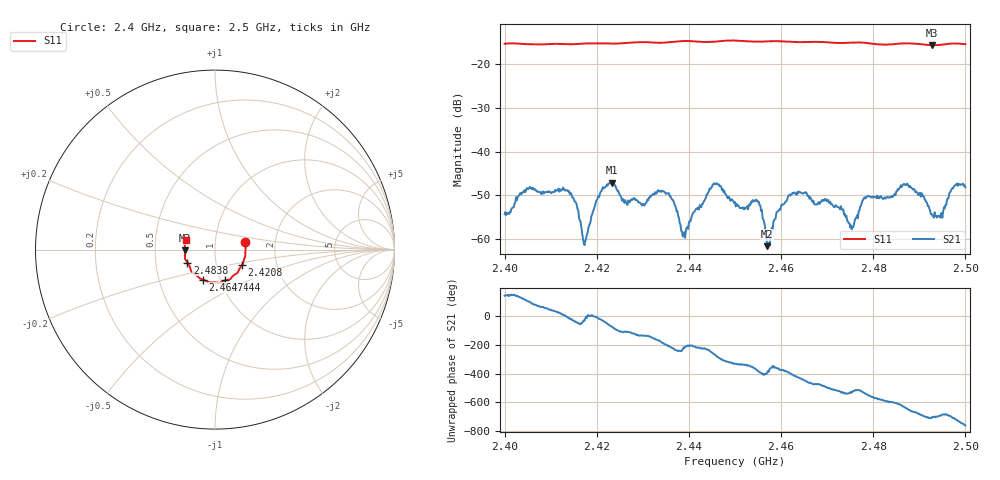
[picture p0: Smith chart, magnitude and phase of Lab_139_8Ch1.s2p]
# Hz S RI R 50
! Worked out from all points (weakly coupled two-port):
!   601 points, 2.4 GHz to 2.5 GHz, reference 50 ohm
!   highest |S21| = -47.11 dB at 2.4233 GHz (marker M1); lowest = -61.7 dB at 2.457 GHz (marker M2)
!   lowest |S11| = -15.6 dB at 2.4928 GHz (marker M3), VSWR 1.40, Z = 35.8 - j0.346 ohm
!   |S11| at or under -10 dB: start of sweep to end of sweep
!   S12 and S22 are empty: the file has one direction only
!   S11 on the Smith chart (normalised r, x): 2.4 GHz: 1.40, +0.12; 2.4208 GHz: 1.33, -0.24; 2.444 GHz: 1.06, -0.37; 2.4647 GHz: 0.83, -0.29; 2.4838 GHz: 0.73, -0.11; 2.5 GHz: 0.72, +0.08
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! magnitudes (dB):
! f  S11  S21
! 2.4 GHz  -15.3  -54.3
! 2.4132 GHz  -15.3  -48.9
! 2.4167 GHz  -15.2  -57.4
! 2.4177 GHz  -15.2  -59.9
! 2.4208 GHz  -15.2  -49.2
! 2.4233 GHz  -15.2  -47.1
! 2.4263 GHz  -15.1  -51.6
! 2.4333 GHz  -15.0  -48.9
! 2.4388 GHz  -14.6  -59.3
! 2.444 GHz  -14.9  -49.8
! 2.45 GHz  -14.5  -51.6
! 2.455 GHz  -14.8  -51.6
! 2.457 GHz  -14.7  -61.7
! 2.4647 GHz  -14.9  -49.6
! 2.4667 GHz  -14.8  -51.2
! 2.4753 GHz  -15.0  -57.8
! 2.4783 GHz  -15.1  -50.7
! 2.4833 GHz  -15.5  -50.4
! 2.4838 GHz  -15.4  -50.3
! 2.4872 GHz  -15.2  -47.7
! 2.4928 GHz  -15.6  -54.7
! 2.5 GHz  -15.4  -48.2
